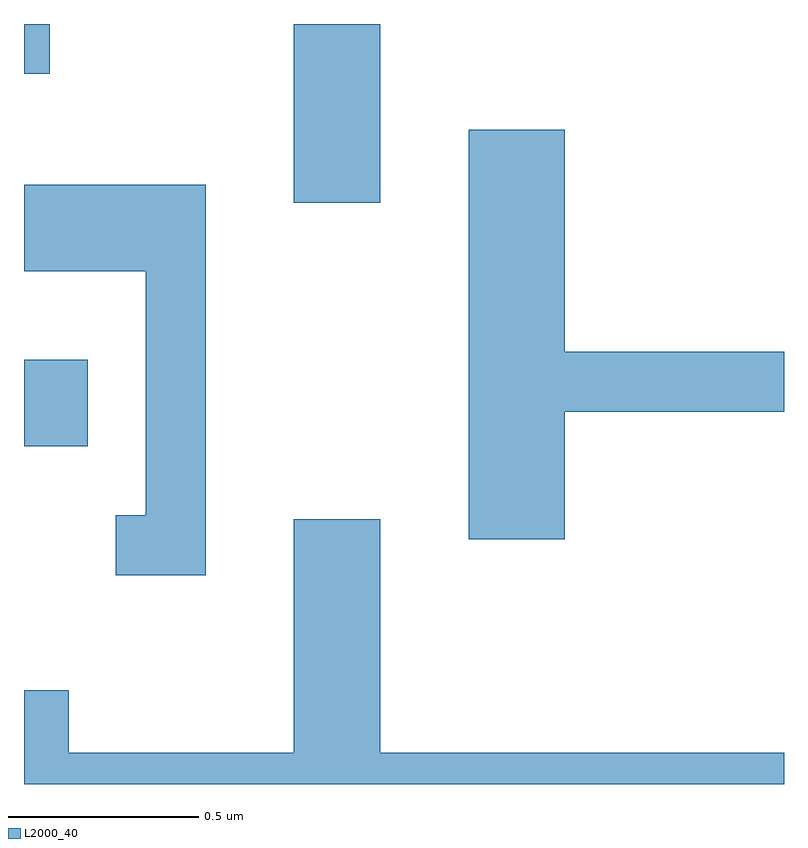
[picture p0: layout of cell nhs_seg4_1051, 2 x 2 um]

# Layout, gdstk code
import gdstk
lib = gdstk.Library(unit=1e-6, precision=1e-09)
def R(c, l, rs):  # rectangles x0, y0, x1, y1
    for r in rs: c.add(gdstk.rectangle(r[:2], r[2:], *l))
def P(c, l, *ps):  # polygons
    for p in ps: c.add(gdstk.Polygon(p, *l))
L2000_40 = (2000, 40)

nhs_seg4_1051 = lib.new_cell('nhs_seg4_1051')
R(nhs_seg4_1051, L2000_40, [(192.611,1346.871,192.779,1347.099), (193.321,1347.511,193.549,1347.982), (192.611,1347.851,192.679,1347.982)])
P(nhs_seg4_1051, L2000_40, [(194.034,1346.961),(194.611,1346.961),(194.611,1347.119),(194.034,1347.119),(194.034,1347.704),(193.781,1347.704),(193.781,1346.626),(194.034,1346.626)],
  [(193.089,1347.559),(192.611,1347.559),(192.611,1347.331),(192.931,1347.331),(192.931,1346.689),(192.853,1346.689),(192.853,1346.531),(193.089,1346.531)],
  [(194.611,1346.064),(193.549,1346.064),(193.549,1346.679),(193.321,1346.679),(193.321,1346.064),(192.729,1346.064),(192.729,1346.229),(192.611,1346.229),(192.611,1345.982),(194.611,1345.982)])

lib.write_gds('nhs_seg4_1051.gds')
